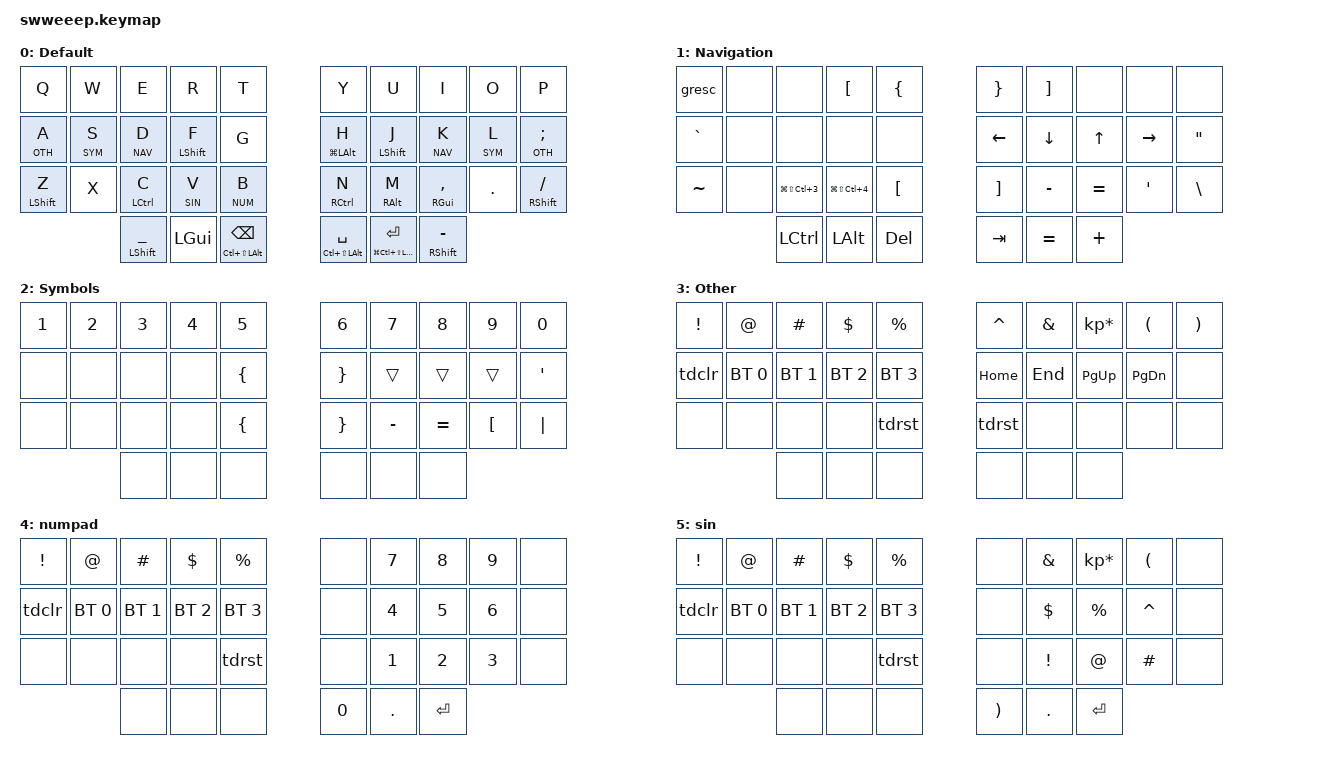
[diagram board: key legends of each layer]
#include <behaviors.dtsi>
#include <dt-bindings/zmk/keys.h>
#include <dt-bindings/zmk/bt.h>
#include <dt-bindings/zmk/outputs.h>

#define DEFAULT 0
#define NAV     1
#define SYM     2
#define OTH     3
#define NUM     4
#define SIN     5

#define TAPPING_TERM 200
#define QUICK_TAP    200

&lt {
	flavor = "tap-preferred";
	tapping-term-ms = <TAPPING_TERM>;
    quick-tap-ms = <QUICK_TAP>;
};

&mt {
	flavor = "tap-preferred";
	tapping-term-ms = <TAPPING_TERM>;
    quick-tap-ms = <QUICK_TAP>;

};
&caps_word {
    continue-list = <UNDERSCORE MINUS>;
};

/ {
    behaviors {
        q_tab: q_tab {
            compatible = "zmk,behavior-mod-morph";
            label = "q_tab";
            #binding-cells = <0>;
            bindings = <&kp Q>, <&kp TAB>;
            mods = <(MOD_LGUI|MOD_RGUI)>;
            keep-mods = <(MOD_LGUI)>;
        };
        tdg: tap_dance_g {
            compatible = "zmk,behavior-tap-dance";
            label = "TAP_DANCE_G";
            #binding-cells = <0>;
            tapping-term-ms = <QUICK_TAP>;
            bindings = <&kp G>, <&caps_word>;
        };
        tdh: tap_dance_h {
            compatible = "zmk,behavior-tap-dance";
            label = "TAP_DANCE_M";
            #binding-cells = <0>;
            tapping-term-ms = <QUICK_TAP>;
            bindings = <&kp H>, <&caps_word>;
        };
    };
};

/ {
    combos {
        compatible = "zmk,combos";
        combo_undo {
            timeout-ms = <50>;
            key-positions = <20 21>;
            bindings = <&kp LC(Z)>;
        };
        combo_q {
            timeout-ms = <50>;
            key-positions = <21 22>;
            bindings = <&kp Q>;
        };
        combo_semicolon {
            timeout-ms = <50>;
            key-positions = <27 28>;
            bindings = <&kp SEMI>;
        };
    };
};

/ {

    behaviors {
        hm: layer_mods {
            compatible = "zmk,behavior-hold-tap";
            label = "LAYER_MODS";
            #binding-cells = <2>;
            tapping-term-ms = <TAPPING_TERM>;
            quick_tap_ms = <0>;
            flavor = "tap-preferred";
            bindings = <&kp>, <&kp>;
        };
        hs: homerow_shift {
            compatible = "zmk,behavior-hold-tap";
            label = "HOMEROW_SHIFT";
            #binding-cells = <2>;
            tapping-term-ms = <TAPPING_TERM>;
            quick_tap_ms = <0>;
            flavor = "tap-preferred";
            bindings = <&kp>, <&kp>;
        };
        tdclr: tap_dance_0 {
            compatible = "zmk,behavior-tap-dance";
            label = "TAP_DANCE_0";
            #binding-cells = <0>;
            tapping-term-ms = <200>;
            bindings = <&none>, <&bt BT_CLR>;
        };
        tdrst: tap_dance_1 {
            compatible = "zmk,behavior-tap-dance";
            label = "TAP_DANCE_0";
            #binding-cells = <0>;
            tapping-term-ms = <200>;
            bindings = <&none>, <&bootloader>;
        };
    };



  keymap {
        compatible = "zmk,keymap";

        default_layer {
            label = "Default";

            bindings = <
//╭──────────┬──────────┬──────────┬──────────┬──────────╮               ╭──────────┬──────────┬──────────┬──────────┬──────────╮
     &kp Q      &kp W      &kp E      &kp R       &kp T                     &kp Y      &kp U      &kp I      &kp O       &kp P
//├──────────┼──────────┼──────────┼──────────┼──────────┤               ├──────────┼──────────┼──────────┼──────────┼──────────┤
   &lt OTH A  &lt SYM S   &lt NAV D &hs LSHIFT F  &kp G              &mt LG(LALT) H  &hs LSHIFT J &lt NAV K &lt SYM L &lt OTH SEMI
//├──────────┼──────────┼──────────┼──────────┼──────────┤               ├──────────┼──────────┼──────────┼──────────┼──────────┤
 &mt LSHIFT Z      &kp X     &mt LCTL C &lt SIN V &lt NUM B             &mt RCTL N &mt RALT M &mt RGUI COMMA &kp DOT   &mt RSHIFT FSLH
//╰──────────┴──────────┼──────────┼──────────┼─────────╯               ╰─────────┼───────────┼──────────┼──────────┼──────────╯
   &mt LSHIFT UNDER      &kp LGUI    &mt LC(LS(LALT)) BSPC        &mt LC(LS(LALT)) SPACE &mt LG(LC(LS(LALT))) ENTER  &mt RSHIFT MINUS
 //            ╰──────────────┴──────────────┴─────────────────╯    ╰─────────────────────┴───────────────┴───────────────╯

            >;
        };

        nav_layer {
            label = "Navigation";

            bindings = <
//╭──────────┬──────────┬──────────┬──────────┬──────────╮               ╭──────────┬──────────┬──────────┬──────────┬──────────╮
    &gresc      &none      &none      &kp LBKT   &kp LBRC                     &kp RBRC   &kp RBKT       &none      &none      &none
//├──────────┼──────────┼──────────┼──────────┼──────────┤               ├──────────┼──────────┼──────────┼──────────┼──────────┤
    &kp GRAVE   &none      &none      &none       &none                    &kp LEFT   &kp DOWN    &kp UP   &kp RIGHT   &kp DQT
//├──────────┼─────────┼───────-───┼──────────┼──────────┤               ├──────────┼──────────┼──────────┼──────────┼──────────┤
   &kp TILDE   &none &kp LG(LS(LC(N3))) &kp LG(LS(LC(N4))) &kp LBKT            &kp RBKT  &kp MINUS  &kp EQUAL   &kp SQT   &kp BSLH
 //╰──────────┴──────────┼──────────┼──────────┼─────────╯               ╰─────────┼───────────┼──────────┼──────────┼──────────╯
                  &kp LCTL        &kp LALT       &kp DELETE                  &kp TAB         &kp EQUAL        &kp PLUS
 //            ╰──────────────┴──────────────┴─────────────────╯    ╰─────────────────────┴───────────────┴───────────────╯
               >;
        };

        sym_layer {
            label = "Symbols";

            bindings = <
//╭──────────┬──────────┬──────────┬──────────┬──────────╮               ╭──────────┬──────────┬──────────┬──────────┬──────────╮
    &kp N1      &kp N2     &kp N3     &kp N4     &kp N5                     &kp N6     &kp N7     &kp N8     &kp N9     &kp N0
//├──────────┼──────────┼──────────┼──────────┼──────────┤               ├──────────┼──────────┼──────────┼──────────┼──────────┤
    &none       &none      &none      &none     &kp LBRC                   &kp RBRC   &trans     &trans     &trans     &kp SQT
//├──────────┼──────────┼──────────┼──────────┼──────────┤               ├──────────┼──────────┼──────────┼──────────┼──────────┤
    &none       &none      &none      &none     &kp LBRC                  &kp RBRC  &kp MINUS  &kp EQUAL   &kp LBKT    &kp PIPE
//╰──────────┴──────────┼──────────┼──────────┼─────────╯               ╰─────────┼───────────┼──────────┼──────────┼──────────╯
                   &none          &none          &none                &none               &none &none
 //            ╰──────────────┴──────────────┴─────────────────╯    ╰─────────────────────┴───────────────┴───────────────╯
                >;
        };
        oth_layer {
            label = "Other";

            bindings = <
//╭──────────┬──────────┬──────────┬──────────┬──────────╮                         ╭──────────┬──────────┬──────────┬──────────┬──────────╮
   &kp EXCL     &kp AT    &kp HASH  &kp DOLLAR &kp PRCNT                            &kp CARET   &kp AMPS &kp KP_MULTIPLY &kp LPAR &kp RPAR
//├──────────┼──────────┼──────────┼──────────┼──────────┤                         ├──────────┼──────────┼──────────┼──────────┼──────────┤
  &tdclr &bt BT_SEL 0 &bt BT_SEL 1 &bt BT_SEL 2 &bt BT_SEL 3                     &kp HOME    &kp END  &kp PG_UP &kp PG_DN &none
//├──────────┼──────────┼──────────┼──────────┼──────────┤                         ├──────────┼──────────┼──────────┼──────────┼──────────┤
     &none       &none      &none     &none     &tdrst                                  &tdrst &none      &none      &none       &none
 //╰──────────┴──────────┼──────────┼──────────┼─────────╯                         ╰─────────┼───────────┼──────────┼──────────┼──────────╯
                   &none          &none          &none                &none               &none &none
 //            ╰──────────────┴──────────────┴─────────────────╯              ╰─────────────────────┴───────────────┴───────────────╯
                >;
        };
        numpad_layer {
            label = "numpad";
            bindings = <
//╭──────────┬──────────┬──────────┬──────────┬──────────╮                         ╭──────────┬──────────┬──────────┬──────────┬──────────╮
   &kp EXCL     &kp AT    &kp HASH  &kp DOLLAR &kp PRCNT                            &none  &kp N7     &kp N8     &kp N9           &none 
//├──────────┼──────────┼──────────┼──────────┼──────────┤                         ├──────────┼──────────┼──────────┼──────────┼──────────┤
  &tdclr &bt BT_SEL 0 &bt BT_SEL 1 &bt BT_SEL 2 &bt BT_SEL 3                        &none  &kp N4       &kp N5     &kp N6        &none 
//├──────────┼──────────┼──────────┼──────────┼──────────┤                         ├──────────┼──────────┼──────────┼──────────┼──────────┤
      &none      &none      &none      &none      &tdrst                             &none  &kp N1       &kp N2     &kp N3        &none 
 //╰──────────┴──────────┼──────────┼──────────┼─────────╯                         ╰─────────┼───────────┼──────────┼──────────┼──────────╯
                    &none       &none   &none                  &kp N0     &kp DOT   &kp ENTER
 //            ╰──────────────┴──────────────┴─────────────────╯              ╰─────────────────────┴───────────────┴───────────────╯
                >;
        };
                sinpad_layer {
            label = "sin";
            bindings = <
//╭──────────┬──────────┬──────────┬──────────┬──────────╮                         ╭──────────┬──────────┬──────────┬──────────┬──────────╮
   &kp EXCL     &kp AT    &kp HASH  &kp DOLLAR &kp PRCNT                            &none  &kp AMPS     &kp KP_MULTIPLY     &kp LPAR       &none 
//├──────────┼──────────┼──────────┼──────────┼──────────┤                         ├──────────┼──────────┼──────────┼──────────┼──────────┤
  &tdclr &bt BT_SEL 0 &bt BT_SEL 1 &bt BT_SEL 2 &bt BT_SEL 3                       &none   &kp DOLLAR       &kp PRCNT     &kp CARET     &none 
//├──────────┼──────────┼──────────┼──────────┼──────────┤                         ├──────────┼──────────┼──────────┼──────────┼──────────┤
      &none      &none      &none      &none     &tdrst                            &none   &kp EXCL       &kp AT     &kp HASH     &none  
 //╰──────────┴──────────┼──────────┼──────────┼─────────╯                         ╰─────────┼───────────┼──────────┼──────────┼──────────╯
                    &none        &none          &none                             &kp RPAR     &kp DOT   &kp ENTER
 //            ╰──────────────┴──────────────┴─────────────────╯              ╰─────────────────────┴───────────────┴───────────────╯
                >;
        };
    };
};
